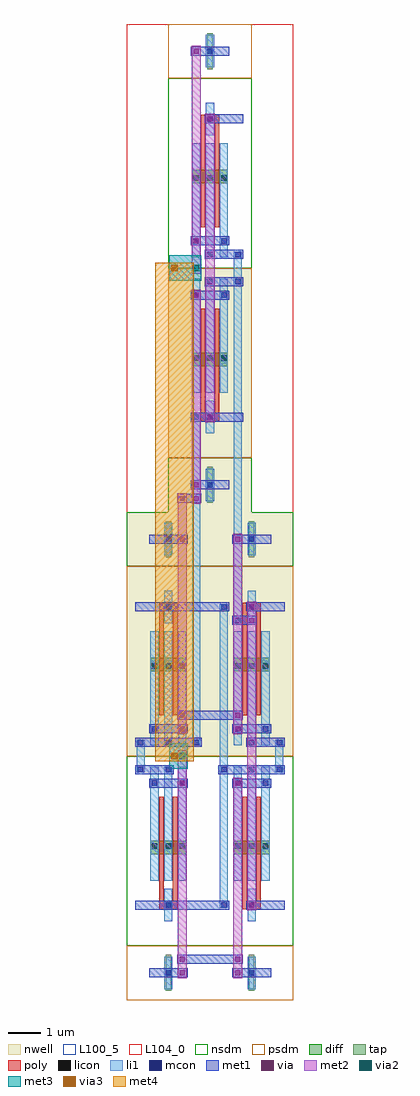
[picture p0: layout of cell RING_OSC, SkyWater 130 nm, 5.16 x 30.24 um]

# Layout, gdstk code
import gdstk
lib = gdstk.Library(unit=1e-6, precision=1e-09)
def R(c, l, rs):  # rectangles x0, y0, x1, y1
    for r in rs: c.add(gdstk.rectangle(r[:2], r[2:], *l))
def A(c, l, x, y, w, h, nx, ny, dx, dy):  # array of equal rectangles
    R(c, l, [(x+i*dx, y+j*dy, x+i*dx+w, y+j*dy+h) for i in range(nx) for j in range(ny)])
nwell = (64, 20)
diff = (65, 20)
tap = (65, 44)
poly = (66, 20)
licon = (66, 44)
li1 = (67, 20)
mcon = (67, 44)
met1 = (68, 20)
via = (68, 44)
met2 = (69, 20)
via2 = (69, 44)
met3 = (70, 20)
via3 = (70, 44)
met4 = (71, 20)
nsdm = (93, 44)
psdm = (94, 20)
L100_5 = (100, 5)
L104_0 = (104, 0)

ring_osc = lib.new_cell('RING_OSC')
R(ring_osc, nwell, [(0,7.56,2.58,15.12), (2.58,7.56,5.16,15.12), (1.29,15.12,3.87,22.68)])
R(ring_osc, diff, [(0.735,4.515,1.845,4.935), (3.315,4.515,4.425,4.935), (0.735,10.185,1.845,10.605), (3.315,10.185,4.425,10.605), (2.025,19.635,3.135,20.055), (2.025,25.305,3.135,25.725)])
R(ring_osc, tap, [(1.205,0.28,1.375,1.4), (3.785,0.28,3.955,1.4), (1.205,13.72,1.375,14.84), (3.785,13.72,3.955,14.84), (2.495,15.4,2.665,16.52), (2.495,28.84,2.665,29.96)])
R(ring_osc, poly, [(1,2.805,1.58,3.075), (3.58,2.805,4.16,3.075), (1,2.94,1.15,6.3), (1.43,2.94,1.58,6.3), (3.58,2.94,3.73,6.3), (4.01,2.94,4.16,6.3), (1,8.82,1.15,12.18), (1.43,8.82,1.58,12.18), (3.58,8.82,3.73,12.18), (4.01,8.82,4.16,12.18), (1,12.045,1.58,12.315), (3.58,12.045,4.16,12.315), (2.29,17.925,2.87,18.195), (2.29,18.06,2.44,21.42), (2.72,18.06,2.87,21.42), (2.29,23.94,2.44,27.3), (2.72,23.94,2.87,27.3), (2.29,27.165,2.87,27.435)])
A(ring_osc, licon, 0.775, 4.685, 0.17, 0.17, 3, 2, 0.43, 5.58)
A(ring_osc, licon, 3.355, 4.685, 0.17, 0.17, 3, 2, 0.43, 5.58)
A(ring_osc, licon, 2.065, 19.805, 0.17, 0.17, 3, 2, 0.43, 5.58)
R(ring_osc, licon, [(1.205,0.755,1.375,0.925), (3.785,0.755,3.955,0.925), (1.205,2.855,1.375,3.025), (3.785,2.855,3.955,3.025), (1.205,12.095,1.375,12.265), (3.785,12.095,3.955,12.265), (1.205,14.195,1.375,14.365), (3.785,14.195,3.955,14.365), (2.495,15.875,2.665,16.045), (2.495,17.975,2.665,18.145), (2.495,27.215,2.665,27.385), (2.495,29.315,2.665,29.485)])
A(ring_osc, li1, 0.735, 3.695, 0.25, 3.53, 3, 2, 0.43, 4.2)
A(ring_osc, li1, 3.315, 3.695, 0.25, 3.53, 3, 2, 0.43, 4.2)
A(ring_osc, li1, 2.025, 18.815, 0.25, 3.53, 3, 2, 0.43, 4.2)
R(ring_osc, li1, [(1.165,0.335,1.415,1.345), (3.745,0.335,3.995,1.345), (1.165,2.435,1.415,3.445), (3.745,2.435,3.995,3.445), (2.885,2.855,3.135,12.265), (0.305,7.055,0.555,8.065), (4.605,7.055,4.855,8.065), (2.025,7.895,2.275,18.145), (1.165,11.675,1.415,12.685), (3.315,11.675,3.565,23.185), (3.745,11.675,3.995,12.685), (1.165,13.775,1.415,14.785), (3.745,13.775,3.995,14.785), (2.455,15.455,2.705,16.465), (2.455,17.555,2.705,18.565), (2.455,26.795,2.705,27.805), (2.455,28.895,2.705,29.905)])
A(ring_osc, mcon, 2.925, 7.055, 0.17, 0.17, 3, 1, 0.86, 0)
A(ring_osc, mcon, 0.345, 7.895, 0.17, 0.17, 3, 1, 0.86, 0)
R(ring_osc, mcon, [(1.205,0.755,1.375,0.925), (3.785,0.755,3.955,0.925), (1.205,2.855,1.375,3.025), (2.925,2.855,3.095,3.025), (3.785,2.855,3.955,3.025), (0.775,6.635,0.945,6.805), (1.635,6.635,1.805,6.805), (3.355,6.635,3.525,6.805), (4.215,6.635,4.385,6.805), (0.345,7.055,0.515,7.225), (1.205,7.055,1.375,7.225), (3.785,7.895,3.955,8.065), (4.645,7.895,4.815,8.065), (0.775,8.315,0.945,8.485), (1.635,8.315,1.805,8.485), (3.355,8.315,3.525,8.485), (4.215,8.315,4.385,8.485), (3.355,11.675,3.525,11.845), (1.205,12.095,1.375,12.265), (2.925,12.095,3.095,12.265), (3.785,12.095,3.955,12.265), (1.205,14.195,1.375,14.365), (3.785,14.195,3.955,14.365), (2.495,15.875,2.665,16.045), (2.065,17.975,2.235,18.145), (2.495,17.975,2.665,18.145), (2.065,21.755,2.235,21.925), (2.925,21.755,3.095,21.925), (2.495,22.175,2.665,22.345), (3.355,22.175,3.525,22.345), (2.495,23.015,2.665,23.185), (3.355,23.015,3.525,23.185), (2.065,23.435,2.235,23.605), (2.925,23.435,3.095,23.605), (2.495,27.215,2.665,27.385), (2.495,29.315,2.665,29.485)])
R(ring_osc, met1, [(0.69,0.7,1.89,0.98), (3.27,0.7,4.47,0.98), (1.56,1.12,3.6,1.4), (0.26,2.8,3.18,3.08), (3.7,2.8,4.9,3.08), (0.69,6.58,1.89,6.86), (3.27,6.58,4.47,6.86), (0.26,7,1.46,7.28), (2.84,7,4.9,7.28), (0.26,7.84,2.32,8.12), (3.7,7.84,4.9,8.12), (0.69,8.26,1.89,8.54), (3.27,8.26,4.47,8.54), (1.56,8.68,3.6,8.96), (3.27,11.62,4.03,11.9), (0.26,12.04,3.18,12.32), (3.7,12.04,4.9,12.32), (0.69,14.14,1.89,14.42), (3.27,14.14,4.47,14.42), (1.56,15.4,2.31,15.68), (1.98,15.82,3.18,16.1), (1.98,17.92,3.61,18.2), (1.98,21.7,3.18,21.98), (2.41,22.12,3.61,22.4), (2.41,22.96,3.61,23.24), (1.98,23.38,3.18,23.66), (2.41,27.16,3.61,27.44), (1.98,29.26,3.18,29.54)])
R(ring_osc, via, [(1.645,0.765,1.795,0.915), (3.365,0.765,3.515,0.915), (1.645,1.185,1.795,1.335), (3.365,1.185,3.515,1.335), (3.795,2.865,3.945,3.015), (1.645,6.645,1.795,6.795), (3.365,6.645,3.515,6.795), (1.645,8.325,1.795,8.475), (3.365,8.325,3.515,8.475), (1.645,8.745,1.795,8.895), (3.365,8.745,3.515,8.895), (3.795,11.685,3.945,11.835), (3.795,12.105,3.945,12.255), (1.645,14.205,1.795,14.355), (3.365,14.205,3.515,14.355), (1.645,15.465,1.795,15.615), (2.075,15.465,2.225,15.615), (2.075,15.885,2.225,16.035), (2.505,17.985,2.655,18.135), (2.075,21.765,2.225,21.915), (2.075,23.445,2.225,23.595), (2.505,27.225,2.655,27.375), (2.075,29.325,2.225,29.475)])
R(ring_osc, met2, [(1.58,0.68,1.86,7.745), (3.3,0.68,3.58,6.88), (3.73,2.78,4.01,12.34), (1.58,8.24,1.86,15.7), (3.3,8.24,3.58,14.44), (2.01,15.38,2.29,22), (2.44,17.9,2.72,27.46), (2.01,22.495,2.29,29.56)])
R(ring_osc, via2, [(1.62,7.46,1.82,7.66), (2.05,22.58,2.25,22.78)])
R(ring_osc, met3, [(1.315,7.16,1.885,7.96), (1.315,22.28,2.315,23.08)])
R(ring_osc, via3, [(1.38,7.46,1.58,7.66), (1.38,22.58,1.58,22.78)])
R(ring_osc, met4, [(0.89,7.395,2.07,22.845)])
R(ring_osc, nsdm, [(0,1.68,2.58,7.56), (2.58,1.68,5.16,7.56), (0,13.44,2.58,15.12), (2.58,13.44,5.16,15.12), (1.29,15.12,3.87,16.8), (1.29,22.68,3.87,28.56)])
R(ring_osc, psdm, [(0,0,2.58,1.68), (2.58,0,5.16,1.68), (0,7.56,2.58,13.44), (2.58,7.56,5.16,13.44), (1.29,16.8,3.87,22.68), (1.29,28.56,3.87,30.24)])
R(ring_osc, L100_5, [(0,0,5.16,30.24)])
R(ring_osc, L104_0, [(0,0,5.16,30.24)])

lib.write_gds('RING_OSC.gds')
